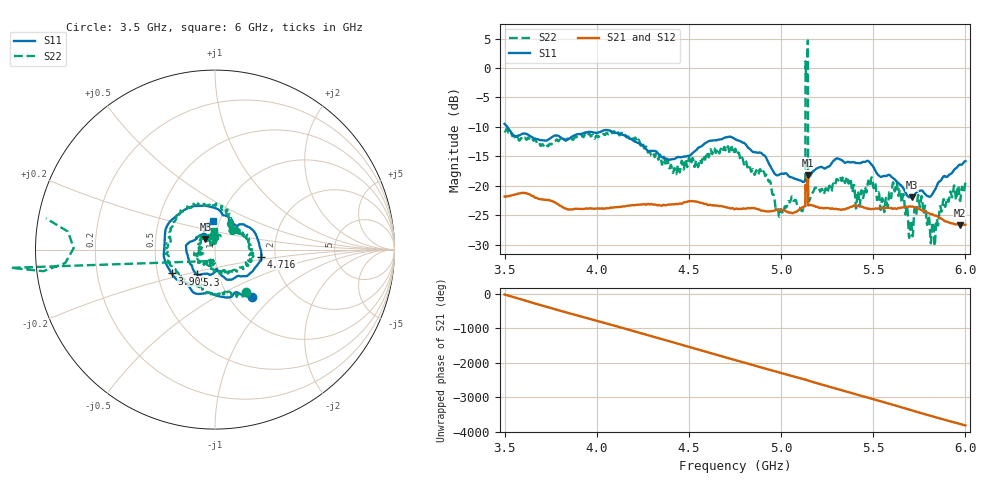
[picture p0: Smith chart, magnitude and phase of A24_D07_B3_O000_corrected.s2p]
! Created with skrf 1.9.0 (http://scikit-rf.org).
# Hz S RI R 50.0
!freq ReS11 ImS11 ReS21 ImS21 ReS12 ImS12 ReS22 ImS22
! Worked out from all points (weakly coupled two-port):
!   1601 points, 3.5 GHz to 6 GHz, reference 50 ohm
!   highest |S21| = -18.14 dB at 5.145 GHz (marker M1); lowest = -26.6 dB at 5.97 GHz (marker M2)
!   lowest |S11| = -22.0 dB at 5.709 GHz (marker M3), VSWR 1.17, Z = 44.7 + j5.36 ohm
!   |S11| at or under -10 dB: 3.515 GHz to end of sweep
!   |S22| runs from -30.2 to 4.7 dB; largest |S21 - S12| = 0.0012
!   S11 on the Smith chart (normalised r, x): 3.5 GHz: 1.27, -0.76; 3.909 GHz: 0.59, -0.17; 4.716 GHz: 1.69, -0.14; 5.3 GHz: 0.79, -0.22; 6 GHz: 0.93, +0.31
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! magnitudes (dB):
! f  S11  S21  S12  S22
! 3.5 GHz  -9.5  -21.8  -21.8  -10.7
! 3.909 GHz  -11.2  -23.9  -23.9  -11.6
! 3.917 GHz  -11.2  -23.9  -23.9  -11.4
! 4.334 GHz  -14.6  -23.3  -23.2  -15.6
! 4.422 GHz  -15.4  -23.1  -23.1  -17.0
! 4.716 GHz  -11.7  -23.7  -23.8  -13.7
! 4.75 GHz  -12.1  -24.0  -23.9  -13.8
! 4.914 GHz  -15.0  -24.3  -24.3  -18.3
! 4.983 GHz  -18.2  -24.1  -24.1  -24.0
! 5.119 GHz  -19.3  -23.6  -23.5  -24.1
! 5.133 GHz  -19.0  -19.8  -19.8  1.1
! 5.145 GHz  -18.6  -18.1  -18.1  4.7
! 5.159 GHz  -18.2  -23.3  -23.2  -22.0
! 5.167 GHz  -17.8  -23.3  -23.3  -21.3
! 5.3 GHz  -15.4  -23.9  -23.9  -18.9
! 5.584 GHz  -18.1  -23.8  -23.7  -21.8
! 5.634 GHz  -19.5  -23.8  -23.8  -21.4
! 5.709 GHz  -22.0  -23.5  -23.5  -27.2
! 5.753 GHz  -20.8  -24.0  -24.0  -23.6
! 5.823 GHz  -21.3  -24.9  -24.9  -26.1
! 5.97 GHz  -16.4  -26.6  -26.6  -22.5
! 6 GHz  -15.8  -26.6  -26.6  -19.5
